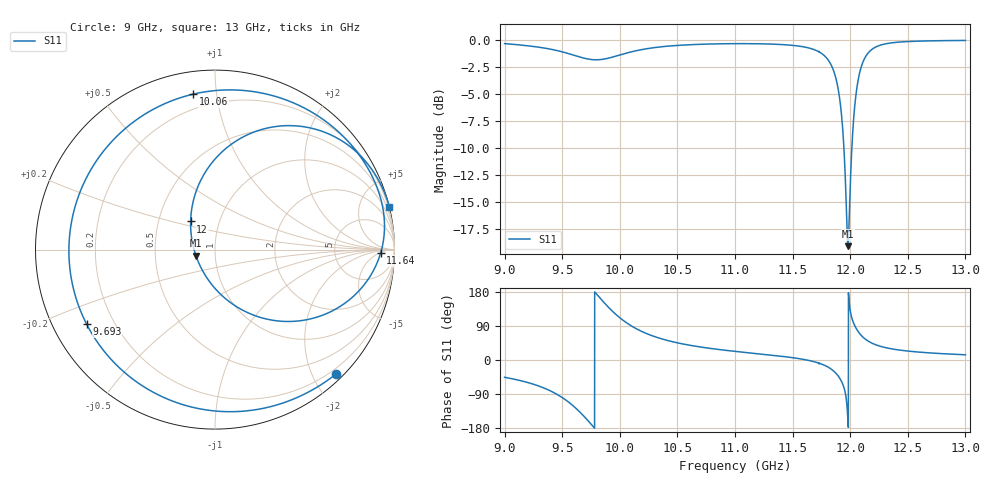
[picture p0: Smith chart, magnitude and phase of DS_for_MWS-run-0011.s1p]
! TOUCHSTONE file generated by CST DESIGN STUDIO
! Date and time: Tue Feb  4 15:52:13 2025
! Project name: C:\Work\MatlabApps\UnitCellOptimizationMatlab\CST\unitcell.cst
! Tree item: Tasks\Sweep1\SPara1\S-Parameters
! Header version: 2024
! Port assignment regex: !\s*Touchstone port\s*([0-9]+)\s*=\s*(CST MWS port|CST DES external port|CST DES block port)\s*(.+)\s* \(\"(.*)\"\)(\s*mode\s*([0-9]+))?.*
! Touchstone port assignment:
! Touchstone port 1 = CST DES external port 1 ("")
# GHz S MA R 50
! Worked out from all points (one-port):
!   4001 points, 9 GHz to 13 GHz, reference 50 ohm
!   lowest |S11| = -19.1 dB at 11.98 GHz (marker M1), VSWR 1.25, Z = 40.3 - j2.74 ohm
!   |S11| at or under -10 dB: 11.95 GHz to 12.01 GHz (68.5 MHz wide, 0.572 % of centre)
!   S11 on the Smith chart (normalised r, x): 9 GHz: 0.11, -2.37; 9.693 GHz: 0.10, -0.27; 10.06 GHz: 0.12, +0.86; 11.64 GHz: 24, -6; 12 GHz: 0.73, +0.24; 13 GHz: -0.01, +8.30
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9  0.9672 -45.7
9.278  0.9339 -66.7
9.5  0.8859 -99.1
9.6  0.8549 -122.2
9.693  0.8272 -149.8
9.762  0.8152 -173.3
9.828  0.8153 163.6
9.916  0.8319 134.7
10  0.8567 111.5
10.059  0.8745 98.1
10.259  0.9203 66.5
10.5  0.9487 45.3
11  0.9668 22.8
11.5  0.9492 6.2
11.641  0.9231 -1.2
11.789  0.8367 -15.6
11.881  0.6509 -36.6
11.934  0.3941 -62.8
11.968  0.1585 -108.2
11.981  0.1114 -162.5
12  0.2075 130.9
12.041  0.5072 89.7
12.07  0.6604 74.7
12.105  0.7802 62.0
12.166  0.8876 48.1
12.243  0.9437 37.9
12.5  0.9887 23.6
13  1 13.7
